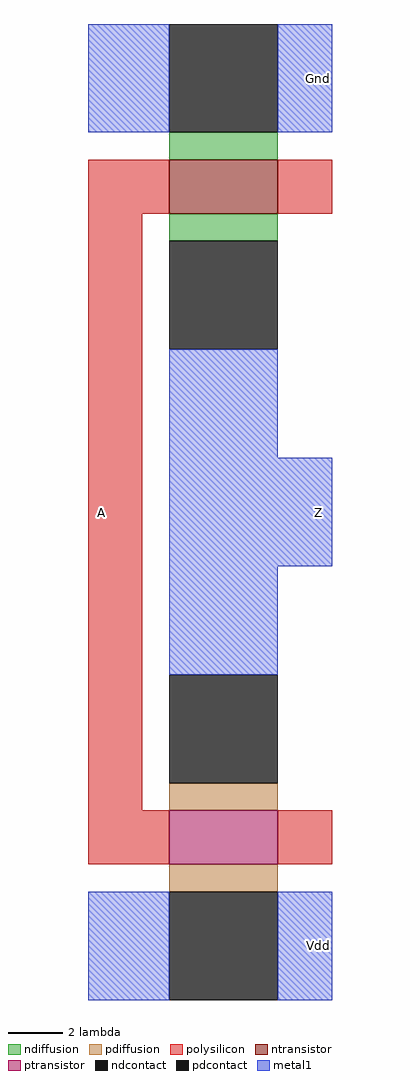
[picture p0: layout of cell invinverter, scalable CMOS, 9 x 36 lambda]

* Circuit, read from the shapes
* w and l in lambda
.subckt invinverter A Gnd Vdd Z
M1 Gnd A Z VSUBS nfet w=4 l=2
M2 Z A Vdd NWELL pfet w=4 l=2
.ends

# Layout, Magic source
magic
tech scmos
<< ntransistor >>
rect -1 24 3 26
<< ptransistor >>
rect -1 0 3 2
<< ndiffusion >>
rect -1 26 3 27
rect -1 23 3 24
<< pdiffusion >>
rect -1 2 3 3
rect -1 -1 3 0
<< ndcontact >>
rect -1 27 3 31
rect -1 19 3 23
<< pdcontact >>
rect -1 3 3 7
rect -1 -5 3 -1
<< polysilicon >>
rect -4 24 -1 26
rect 3 24 5 26
rect -4 2 -2 24
rect -4 0 -1 2
rect 3 0 5 2
<< metal1 >>
rect -4 27 -1 31
rect 3 27 5 31
rect -1 15 3 19
rect -1 11 5 15
rect -1 7 3 11
rect -4 -5 -1 -1
rect 3 -5 5 -1
<< labels >>
rlabel metal1 4 27 5 31 6 Gnd
rlabel metal1 4 -5 5 -1 8 Vdd
rlabel polysilicon -4 12 -3 14 3 A
rlabel metal1 4 11 5 15 7 Z
<< end >>
